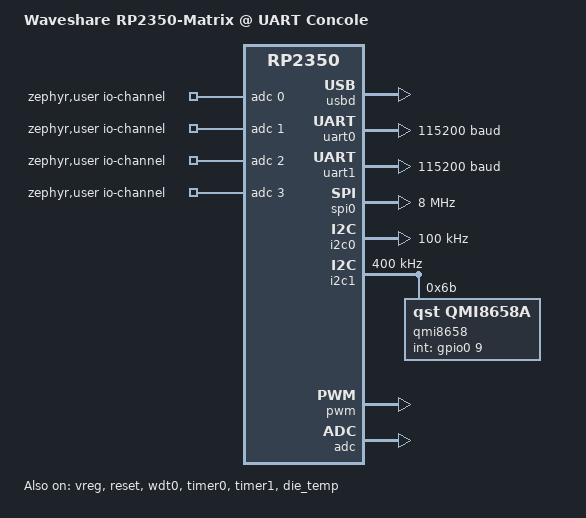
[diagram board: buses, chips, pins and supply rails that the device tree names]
/*
 * SPDX-FileCopyrightText: Copyright (c) 2026 TiaC Systems
 * SPDX-License-Identifier: Apache-2.0
 */

#include <mem.h>
#include <freq.h>

#include <raspberrypi/partitions_0x0_default_16M.dtsi>

#include <zephyr/dt-bindings/clock/rpi_pico_rp2350_clock.h>
#include <zephyr/dt-bindings/regulator/rpi_pico.h>

#include <zephyr/dt-bindings/gpio/gpio.h>
#include <zephyr/dt-bindings/i2c/i2c.h>
#include <zephyr/dt-bindings/led/led.h>

#include <zephyr/dt-bindings/display/panel.h>

#include "waveshare_rp2350matrix_pads.dtsi"
#include "waveshare_rp2350matrix_connector.dtsi"
#include "waveshare_rp2350_matrix-pinctrl.dtsi"

/ {
	model = "Waveshare RP2350-Matrix @ UART Concole";
	compatible = "waveshare,rp2350-matrix",
		     "waveshare,rp2350-matrix-uartcons";

	chosen {
		zephyr,sram = &sram0;
		zephyr,flash = &flash0;
		zephyr,flash-controller = &qmi;
		zephyr,code-partition = &code_partition;
		zephyr,console = &uart1;
		zephyr,shell-uart = &uart1;
		zephyr,display = &led_strip_matrix;
	};

	aliases {
		6dof-motion-drdy0 = &qmi8658;
		accel0 = &qmi8658;
		led-strip = &led_strip;
		watchdog0 = &wdt0;
	};

	zephyr,user {
		io-channels = <&adc 0>, <&adc 1>, <&adc 2>, <&adc 3>;
	};

	led_strip_matrix: led-strip-matrix {
		compatible = "led-strip-matrix";
	};
};

&flash0 {
	status = "okay";
	reg = <0x10000000 DT_SIZE_M(16)>;
	ranges = <0x0 0x10000000 DT_SIZE_M(16)>;

	partitions {
		storage_partition: partition@100000 {
			compatible = "zephyr,mapped-partition";
			label = "storage";
			reg = <0x100000 DT_SIZE_M(15)>;
		};
	};
};

&code_partition {
	reg = <0x0 DT_SIZE_M(1)>;
};

&clocks {
	status = "okay";
	pinctrl-0 = <&clocks_default>;
	pinctrl-names = "default";
};

&vreg {
	status = "okay";
	regulator-always-on;
	regulator-allowed-modes = <REGULATOR_RPI_PICO_MODE_NORMAL>;
};

&reset {
	status = "okay";
};

&wdt0 {
	status = "okay";
};

&timer0 {
	status = "okay";
};

&timer1 {
	status = "okay";
};

&dma {
	status = "okay";
};

&die_temp {
	status = "okay";
	friendly-name = "RP2350 chip temperature";
};

zephyr_udc0: &usbd {
	status = "okay";
};

&uart0 {
	status = "okay";
	pinctrl-0 = <&uart0_default>;
	pinctrl-names = "default";
	current-speed = <115200>;
};

&uart1 {
	status = "okay";
	pinctrl-0 = <&uart1_default>;
	pinctrl-names = "default";
	current-speed = <115200>;
};

&spi0 {
	status = "okay";
	pinctrl-0 = <&spi0_default>;
	pinctrl-names = "default";
	clock-frequency = <DT_FREQ_M(8)>;
};

&i2c0 {
	status = "okay";
	pinctrl-0 = <&i2c0_default>;
	pinctrl-names = "default";
	clock-frequency = <I2C_BITRATE_STANDARD>;
};

&i2c1 {
	status = "okay";
	pinctrl-0 = <&i2c1_default>;
	pinctrl-names = "default";
	clock-frequency = <I2C_BITRATE_FAST>;

	/* Accelerometer and Gyroscope with QMI8658A sensor. */
	qmi8658: qmi8658a@6b {
		compatible = "qst,qmi8658a";
		friendly-name = "on-board accelerometer/gyroscope";
		status = "okay";

		reg = <0x6b>;

		/* GP9 as INT2 from QMI8658A sensor. */
		int-gpios = <&gpio0 9 GPIO_ACTIVE_HIGH>;
		int-pin = <2>;

		accel-fs = <2>;
		gyro-fs = <512>;
		accel-odr = <224>;
		gyro-odr = <224>;
	};
};

&pio0 {
	status = "okay";

	pio-ws2812 {
		compatible = "worldsemi,ws2812-rpi_pico-pio";
		status = "okay";

		pinctrl-0 = <&pio0_ws2812_default>;
		pinctrl-names = "default";

		/* HI: 0x3F0: 1111110000: 0.750 us high and 0.500 us low */
		/* LO: 0x380: 1110000000: 0.375 us high and 0.875 us low */
		bit-waveform = <3>, <3>, <4>;

		ws2812_8x8: ws2812-8x8 {
			status = "okay";

			chain-length = <(8*8)>; /* 8x8 panel with RGB pixel */
			color-mapping = <LED_COLOR_ID_RED
					 LED_COLOR_ID_GREEN
					 LED_COLOR_ID_BLUE>;

			/* PIO0:OUT @ GP16 and Tbit = 1.25 us / 10 */
			gpios = <&gpio0 25 GPIO_ACTIVE_HIGH>;
			frequency = <DT_FREQ_K(800)>;
			reset-delay = <280>;
		};
	};
};

led_strip: &ws2812_8x8 {};

&led_strip_matrix {
	/* LED strip with circulative layout */
	led-strips = <&led_strip>;
	circulative;

	/* 8x8 panel with RGB pixel and alpha channel */
	width = <8>;
	height = <8>;
	pixel-format = <PANEL_PIXEL_FORMAT_ARGB_8888>;
};

&pwm {
	status = "okay";
	pinctrl-0 = <&pwm_default>;
	pinctrl-names = "default";
};

&adc {
	status = "okay";
	pinctrl-0 = <&adc_default>;
	pinctrl-names = "default";
};

gpio0_lo: &gpio0 {
	status = "okay";
	/* namespace and positions without wired bits */
	gpio-reserved-ranges = <25 1>;
	gpio-line-names =
		"TX0",			/* GP0 */
		"RX0",			/* GP1 */
		"GP2_CTS0",		/* GP2 */
		"GP3_RTS0",		/* GP3 */
		"GP4_DSR0",		/* GP4 */
		"GP5_DTR0",		/* GP5 */
		"IMU_SDA1",		/* GP6 */
		"IMU_SCL1",		/* GP7 */
		"IMU_INT1",		/* GP8 */
		"IMU_INT2",		/* GP9 */
		"TX1",			/* GP10 */
		"RX1",			/* GP11 */
		"SDA0",			/* GP12 */
		"SCL0",			/* GP13 */
		"GP14",			/* GP14 */
		"GP15",			/* GP15 */
		"SDI0",			/* GP16 */
		"CSN0",			/* GP17 */
		"SCK0",			/* GP18 */
		"SDO0",			/* GP19 */
		"GP20_PWM4_DCD0",	/* GP20 */
		"GP21_PWM5_RI0",	/* GP21 */
		"GP22_PWM6",		/* GP22 */
		"GP23_PWM7",		/* GP23 */
		"GP24_PWM8",		/* GP24 */
		"",  /* Din of LED stripe, GP25 */
		"ADC0",			/* GP26 */
		"ADC1",			/* GP27 */
		"ADC2",			/* GP28 */
		"ADC3";			/* GP29 */
};
